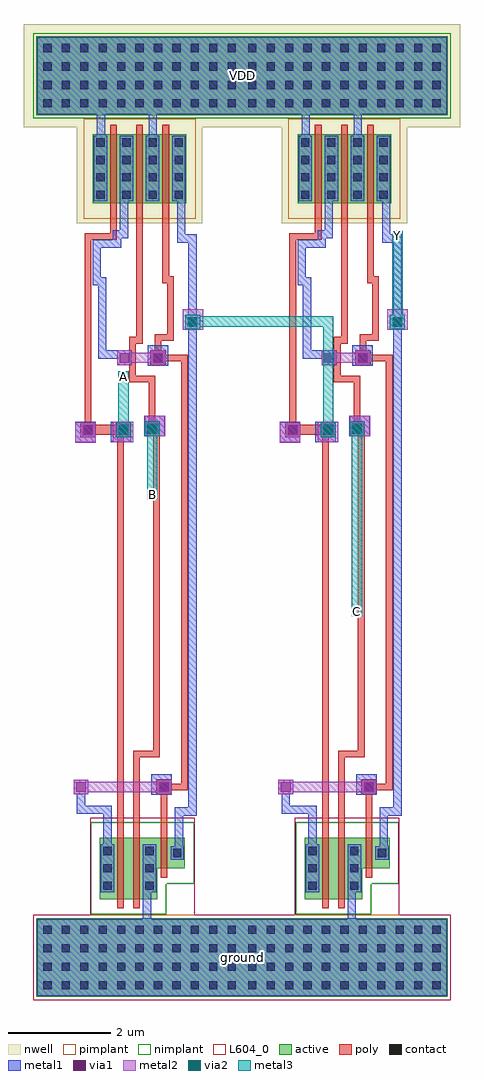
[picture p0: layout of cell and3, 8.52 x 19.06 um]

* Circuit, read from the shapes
.subckt and3 A B C VDD Y ground
M1 n1 A n2 ground nfet w=1.2u l=0.13u
M2 ground B n1 ground nfet w=1.2u l=0.13u
M3 and_0/A n2 ground ground nfet w=0.6u l=0.13u
M4 n3 and_0/A n4 ground nfet w=1.2u l=0.13u
M5 ground C n3 ground nfet w=1.2u l=0.13u
M6 Y n4 ground ground nfet w=0.6u l=0.13u
M7 n2 A VDD VDD pfet w=1.35u l=0.13u
M8 VDD B n2 VDD pfet w=1.35u l=0.13u
M9 and_0/A n2 VDD VDD pfet w=1.35u l=0.13u
M10 n4 and_0/A VDD VDD pfet w=1.35u l=0.13u
M11 VDD C n4 VDD pfet w=1.35u l=0.13u
M12 Y n4 VDD VDD pfet w=1.35u l=0.13u
.ends

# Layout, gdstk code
import gdstk
lib = gdstk.Library(unit=1e-6, precision=1e-09)
def R(c, l, rs):  # rectangles x0, y0, x1, y1
    for r in rs: c.add(gdstk.rectangle(r[:2], r[2:], *l))
def A(c, l, x, y, w, h, nx, ny, dx, dy):  # array of equal rectangles
    R(c, l, [(x+i*dx, y+j*dy, x+i*dx+w, y+j*dy+h) for i in range(nx) for j in range(ny)])
def P(c, l, *ps):  # polygons
    for p in ps: c.add(gdstk.Polygon(p, *l))
nwell = (3, 0)
active = (6, 0)
poly = (17, 0)
pimplant = (25, 0)
nimplant = (26, 0)
contact = (30, 0)
metal1 = (31, 0)
metal2 = (32, 0)
metal3 = (33, 0)
via1 = (51, 0)
via2 = (52, 0)
L604_0 = (604, 0)

m1m2 = lib.new_cell('M1M2')
R(m1m2, metal1, [(-0.145,-0.145,0.145,0.145)])
R(m1m2, metal2, [(-0.145,-0.145,0.145,0.145)])
R(m1m2, via1, [(-0.095,-0.095,0.095,0.095)])

poly_m1 = lib.new_cell('POLY_M1')
R(poly_m1, poly, [(-0.15,-0.15,0.15,0.15)])
R(poly_m1, contact, [(-0.08,-0.08,0.08,0.08)])
R(poly_m1, metal1, [(-0.13,-0.13,0.13,0.13)])

m2m3 = lib.new_cell('M2M3')
R(m2m3, metal2, [(-0.145,-0.145,0.145,0.145)])
R(m2m3, metal3, [(-0.145,-0.145,0.145,0.145)])
R(m2m3, via2, [(-0.095,-0.095,0.095,0.095)])

and_ = lib.new_cell('and')
R(and_, nwell, [(24.095,109.78,26.545,111.91), (23.06,111.65,27.58,113.67)])
R(and_, active, [(23.3,94.67,27.34,96.21), (24.405,110.17,26.235,111.52), (23.3,111.89,27.34,113.43)])
P(and_, active, [(26.205,97.78),(26.205,97.18),(25.665,97.18),(25.665,96.58),(24.545,96.58),(24.545,97.78)])
A(and_, poly, 24.745, 109.99, 0.13, 0.18, 3, 2, 0.51, 1.53)
A(and_, poly, 24.745, 110.17, 0.13, 1.35, 3, 1, 0.51, 0)
R(and_, poly, [(24.885,96.4,25.015,96.58), (25.195,96.4,25.325,96.58), (24.885,96.58,25.015,97.78), (25.195,96.58,25.325,97.78), (25.735,97,25.865,97.18), (25.735,97.18,25.865,97.78), (24.885,97.78,25.015,97.96), (25.195,97.78,25.325,97.96), (25.735,97.78,25.865,97.96), (24.885,97.83,25.015,105.81), (25.735,97.83,25.865,98.835), (24.21,105.645,25.105,105.845)])
P(and_, poly, [(25.615,107.085),(25.745,107.085),(25.745,107.48),(25.99,107.48),(25.99,108.74),(25.895,108.74),(25.895,110.12),(25.765,110.12),(25.765,108.61),(25.86,108.61),(25.86,107.61),(25.615,107.61)],
  [(25.195,97.83),(25.325,97.83),(25.325,99.35),(25.715,99.35),(25.715,105.83),(25.585,105.83),(25.585,99.48),(25.195,99.48)],
  [(24.245,105.68),(24.375,105.68),(24.375,109.455),(24.875,109.455),(24.875,110.12),(24.745,110.12),(24.745,109.585),(24.245,109.585)],
  [(25.115,106.67),(25.5,106.67),(25.5,105.7),(25.63,105.7),(25.63,106.8),(25.245,106.8),(25.245,107.43),(25.385,107.43),(25.385,110.12),(25.255,110.12),(25.255,107.56),(25.115,107.56)],
  [(25.615,107.085),(26.13,107.085),(26.13,98.835),(25.735,98.835),(25.735,98.705),(26.26,98.705),(26.26,107.215),(25.615,107.215)])
R(and_, pimplant, [(23.24,94.61,27.4,96.27), (24.225,109.87,26.415,111.82)])
R(and_, nimplant, [(23.24,111.83,27.4,113.49)])
P(and_, nimplant, [(26.385,98.08),(26.385,96.88),(25.845,96.88),(25.845,96.28),(24.365,96.28),(24.365,98.08)])
A(and_, contact, 23.44, 94.82, 0.16, 0.16, 11, 4, 0.36, 0.36)
A(and_, contact, 24.615, 96.76, 0.16, 0.16, 1, 3, 0, 0.34)
A(and_, contact, 25.435, 96.76, 0.16, 0.16, 1, 3, 0, 0.34)
A(and_, contact, 24.475, 110.255, 0.16, 0.16, 4, 4, 0.51, 0.34)
A(and_, contact, 23.44, 112.04, 0.16, 0.16, 11, 4, 0.36, 0.36)
R(and_, contact, [(25.975,97.4,26.135,97.56)])
A(and_, metal1, 24.425, 110.205, 0.26, 1.28, 4, 1, 0.51, 0)
R(and_, metal1, [(23.32,94.69,27.32,96.19), (23.32,94.69,27.32,96.19), (25.385,96.03,25.545,96.87), (24.565,96.71,24.825,97.65), (25.385,96.71,25.645,97.65), (25.925,97.35,26.185,97.61), (25.55,98.62,25.95,99.02), (24.06,105.5,24.46,105.9), (24.755,105.505,25.155,105.905), (25.41,105.615,25.81,106.015), (25.475,107,25.875,107.4), (24.485,111.325,24.645,112.07), (25.5,111.325,25.66,112.07), (23.32,111.91,27.32,113.41), (23.32,111.91,27.32,113.41)])
P(and_, metal1, [(24.095,98.245),(24.615,98.245),(24.615,97.49),(24.775,97.49),(24.775,98.405),(24.255,98.405),(24.255,98.85),(24.095,98.85)],
  [(24.405,108.565),(24.51,108.565),(24.51,107.135),(25.105,107.135),(25.105,107.295),(24.67,107.295),(24.67,108.725),(24.565,108.725),(24.565,109.3),(24.96,109.3),(24.96,109.485),(25.095,109.485),(25.095,110.365),(24.935,110.365),(24.935,109.645),(24.8,109.645),(24.8,109.46),(24.405,109.46)],
  [(26.01,97.45),(26.17,97.45),(26.17,98.21),(26.435,98.21),(26.435,109.56),(26.215,109.56),(26.215,110.365),(26.055,110.365),(26.055,109.4),(26.275,109.4),(26.275,98.37),(26.01,98.37)])
R(and_, metal2, [(24.075,98.67,25.9,98.87), (24.06,105.495,24.46,105.895), (24.8,105.505,25.2,105.905), (25.42,105.615,25.82,106.015), (24.925,107.05,25.78,107.25), (26.16,107.695,26.56,108.095)])
R(and_, metal3, [(24.905,105.645,25.105,105.845), (25.465,105.645,25.665,105.845), (26.255,107.76,26.455,107.96)])
R(and_, L604_0, [(23.24,94.61,27.4,96.27), (24.355,96.19,26.395,98.17)])
and_.add(gdstk.Reference(m1m2, (25.025,107.15)))
and_.add(gdstk.Reference(poly_m1, (25.68,107.15)))
and_.add(gdstk.Reference(m1m2, (25.68,107.15)))
and_.add(gdstk.Reference(poly_m1, (25.565,105.765)))
and_.add(gdstk.Reference(m1m2, (25.565,105.765)))
and_.add(gdstk.Reference(m2m3, (25.565,105.765)))
and_.add(gdstk.Reference(poly_m1, (24.31,105.745)))
and_.add(gdstk.Reference(m1m2, (24.31,105.745)))
and_.add(gdstk.Reference(m2m3, (25.005,105.745)))
and_.add(gdstk.Reference(poly_m1, (25.8,98.77)))
and_.add(gdstk.Reference(m1m2, (25.8,98.77)))
and_.add(gdstk.Reference(m1m2, (26.355,107.85)))
and_.add(gdstk.Reference(m2m3, (26.355,107.85)))
and_.add(gdstk.Reference(m2m3, (25.005,105.745)))
and_.add(gdstk.Reference(m1m2, (25.005,105.745)))
and_.add(gdstk.Reference(m1m2, (24.175,98.77)))
and_.add(gdstk.Reference(poly_m1, (25.005,105.745)))
and_.add(gdstk.Label('/M3', (24.81,110.845), layer=17, texttype=0))
and_.add(gdstk.Label('/M4', (25.32,110.845), layer=17, texttype=0))
and_.add(gdstk.Label('/M5', (25.83,110.845), layer=17, texttype=0))
and_.add(gdstk.Label('/M1', (24.95,97.18), layer=17, texttype=0))
and_.add(gdstk.Label('/M2', (25.26,97.18), layer=17, texttype=0))
and_.add(gdstk.Label('/M6', (25.8,97.48), layer=17, texttype=0))
and_.add(gdstk.Label('A', (25.005,105.745), layer=133, texttype=0))
and_.add(gdstk.Label('B', (25.565,105.745), layer=133, texttype=0))
and_.add(gdstk.Label('Y', (26.355,107.86), layer=133, texttype=0))
and_.add(gdstk.Label('VDD', (25.32,112.66), layer=131, texttype=0))
and_.add(gdstk.Label('ground', (25.32,95.44), layer=131, texttype=0))

and3 = lib.new_cell('and3')
R(and3, metal1, [(-16.155,29.61,-8.155,31.11), (-16.155,46.83,-8.155,48.33)])
R(and3, metal3, [(-10.01,37.025,-9.81,37.225), (-10.01,37.025,-9.81,40.765), (-14.01,39.305,-13.81,39.505), (-14.01,39.305,-13.81,40.765), (-14.57,40.565,-14.37,41.81), (-14.57,41.61,-14.37,41.81), (-9.22,42.68,-9.02,44.555), (-9.22,44.355,-9.02,44.555)])
P(and3, metal3, [(-13.22,42.68),(-10.57,42.68),(-10.57,40.565),(-10.37,40.565),(-10.37,42.88),(-13.22,42.88)])
and3.add(gdstk.Reference(and_, (-35.475,-65.08)))
and3.add(gdstk.Reference(and_, (-39.475,-65.08)))
and3.add(gdstk.Label('C', (-9.91,37.125), layer=133, texttype=0))
and3.add(gdstk.Label('B', (-13.91,39.405), layer=133, texttype=0))
and3.add(gdstk.Label('A', (-14.47,41.71), layer=133, texttype=0))
and3.add(gdstk.Label('Y', (-9.12,44.455), layer=133, texttype=0))
and3.add(gdstk.Label('ground', (-12.155,30.36), layer=131, texttype=0))
and3.add(gdstk.Label('VDD', (-12.155,47.58), layer=131, texttype=0))

lib.write_gds('and3.gds')
